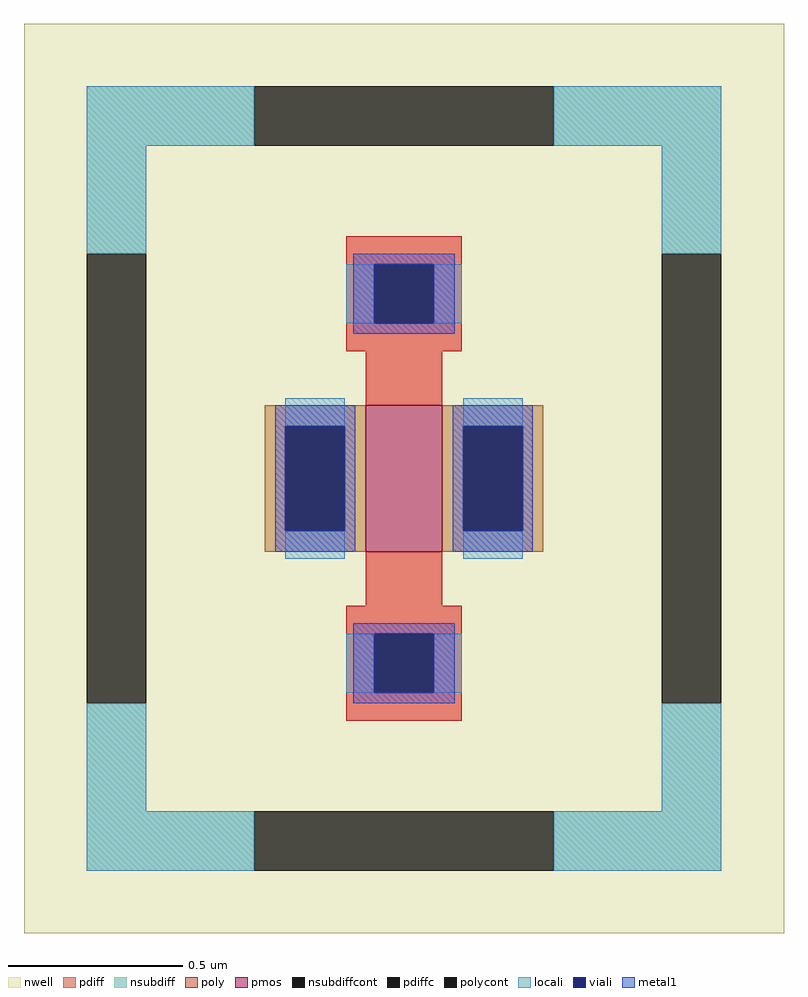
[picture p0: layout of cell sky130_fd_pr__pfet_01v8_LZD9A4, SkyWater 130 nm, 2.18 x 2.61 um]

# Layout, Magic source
magic
tech sky130A
magscale 1 2
<< nwell >>
rect -218 -261 218 261
<< pmos >>
rect -22 -42 22 42
<< pdiff >>
rect -80 30 -22 42
rect -80 -30 -68 30
rect -34 -30 -22 30
rect -80 -42 -22 -30
rect 22 30 80 42
rect 22 -30 34 30
rect 68 -30 80 30
rect 22 -42 80 -30
<< pdiffc >>
rect -68 -30 -34 30
rect 34 -30 68 30
<< nsubdiff >>
rect -182 191 -86 225
rect 86 191 182 225
rect -182 129 -148 191
rect 148 129 182 191
rect -182 -191 -148 -129
rect 148 -191 182 -129
rect -182 -225 -86 -191
rect 86 -225 182 -191
<< nsubdiffcont >>
rect -86 191 86 225
rect -182 -129 -148 129
rect 148 -129 182 129
rect -86 -225 86 -191
<< poly >>
rect -33 123 33 139
rect -33 89 -17 123
rect 17 89 33 123
rect -33 73 33 89
rect -22 42 22 73
rect -22 -73 22 -42
rect -33 -89 33 -73
rect -33 -123 -17 -89
rect 17 -123 33 -89
rect -33 -139 33 -123
<< polycont >>
rect -17 89 17 123
rect -17 -123 17 -89
<< locali >>
rect -182 191 -86 225
rect 86 191 182 225
rect -182 129 -148 191
rect 148 129 182 191
rect -33 89 -17 123
rect 17 89 33 123
rect -68 30 -34 46
rect -68 -46 -34 -30
rect 34 30 68 46
rect 34 -46 68 -30
rect -33 -123 -17 -89
rect 17 -123 33 -89
rect -182 -191 -148 -129
rect 148 -191 182 -129
rect -182 -225 -86 -191
rect 86 -225 182 -191
<< viali >>
rect -17 89 17 123
rect -68 -30 -34 30
rect 34 -30 68 30
rect -17 -123 17 -89
<< metal1 >>
rect -29 123 29 129
rect -29 89 -17 123
rect 17 89 29 123
rect -29 83 29 89
rect -74 30 -28 42
rect -74 -30 -68 30
rect -34 -30 -28 30
rect -74 -42 -28 -30
rect 28 30 74 42
rect 28 -30 34 30
rect 68 -30 74 30
rect 28 -42 74 -30
rect -29 -89 29 -83
rect -29 -123 -17 -89
rect 17 -123 29 -89
rect -29 -129 29 -123
<< properties >>
string FIXED_BBOX -165 -208 165 208
string gencell sky130_fd_pr__pfet_01v8
string library sky130
string parameters w 0.42 l 0.22 m 1 nf 1 diffcov 100 polycov 100 guard 1 glc 1 grc 1 gtc 1 gbc 1 tbcov 100 rlcov 100 topc 1 botc 1 poverlap 0 doverlap 1 lmin 0.15 wmin 0.42 compatible {sky130_fd_pr__pfet_01v8  sky130_fd_pr__pfet_01v8_lvt sky130_fd_pr__pfet_01v8_hvt  sky130_fd_pr__pfet_g5v0d10v5} full_metal 1 viasrc 100 viadrn 100 viagate 100 viagb 0 viagr 0 viagl 0 viagt 0
<< end >>
